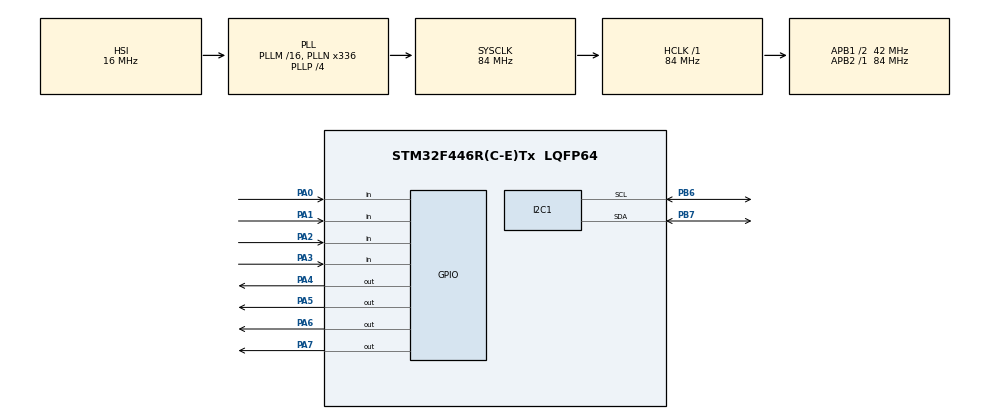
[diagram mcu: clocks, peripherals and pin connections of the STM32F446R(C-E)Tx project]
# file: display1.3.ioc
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Mcu.Family=STM32F4
Mcu.Name=STM32F446R(C-E)Tx
Mcu.Package=LQFP64
NVIC.PriorityGroup=NVIC_PRIORITYGROUP_0
PA0-WKUP.Signal=GPIO_Input
PA1.Signal=GPIO_Input
PA2.Signal=GPIO_Input
PA3.Signal=GPIO_Input
PA4.Signal=GPIO_Output
PA5.Signal=GPIO_Output
PA6.Signal=GPIO_Output
PA7.Signal=GPIO_Output
PB6.Mode=I2C
PB6.Signal=I2C1_SCL
PB7.Mode=I2C
PB7.Signal=I2C1_SDA
PH0-OSC_IN.Mode=HSE-External-Oscillator
PH0-OSC_IN.Signal=RCC_OSC_IN
PH1-OSC_OUT.Mode=HSE-External-Oscillator
PH1-OSC_OUT.Signal=RCC_OSC_OUT
ProjectManager.HeapSize=0x200
ProjectManager.StackSize=0x400
ProjectManager.TargetToolchain=STM32CubeIDE
RCC.48MHZClocksFreq_Value=84000000
RCC.AHBFreq_Value=84000000
RCC.APB1CLKDivider=RCC_HCLK_DIV2
RCC.APB1Freq_Value=42000000
RCC.APB1TimFreq_Value=84000000
RCC.APB2Freq_Value=84000000
RCC.APB2TimFreq_Value=84000000
RCC.CortexFreq_Value=84000000
RCC.FLatency-AdvancedSettings=FLASH_LATENCY_2
RCC.HCLKFreq_Value=84000000
RCC.HSE_VALUE=8000000
RCC.HSI_VALUE=16000000
RCC.PLLN=336
RCC.PLLP=RCC_PLLP_DIV4
RCC.SYSCLKFreq_VALUE=84000000
RCC.SYSCLKSource=RCC_SYSCLKSOURCE_PLLCLK
RCC.USBFreq_Value=168000000
RCC.VCOOutputFreq_Value=336000000
board=NUCLEO-F446RE

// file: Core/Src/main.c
/* USER CODE BEGIN Header */
/**
 ******************************************************************************
 * @file           : main.c
 * @brief          : Main program body
 ******************************************************************************
 * @attention
 *
 * Copyright (c) 2025 STMicroelectronics.
 * All rights reserved.
 *
 * This software is licensed under terms that can be found in the LICENSE file
 * in the root directory of this software component.
 * If no LICENSE file comes with this software, it is provided AS-IS.
 *
 ******************************************************************************
 */
/* USER CODE END Header */
#include "main.h"

/* USER CODE BEGIN Includes */
//#include "../ECUAL/KEYPAD/KEYPAD.h"
#include "../../ECUAL/KEYPAD/KEYPAD.h"
#include "../../ECUAL/I2C_LCD/I2C_LCD.h"
/* USER CODE END Includes */

/* USER CODE BEGIN PM */
#define KEY_1       0
#define KEY_2       1
#define KEY_3       2
#define KEY_F1      3
#define KEY_4       4
#define KEY_5       5
#define KEY_6       6
#define KEY_F2      7
#define KEY_7       8
#define KEY_8       9
#define KEY_9       10
#define KEY_F3      11
#define KEY_A       12
#define KEY_0       13
#define KEY_H       14
#define KEY_F4      15

#define MyI2C_LCD I2C_LCD_1
/* USER CODE END PM */

I2C_HandleTypeDef hi2c1;

void SystemClock_Config(void);
static void MX_GPIO_Init(void);
static void MX_I2C1_Init(void);
void SysTick_CallBack(void);
void Display_Handler(void);

/* USER CODE BEGIN 0 */
uint8_t gu8_KeyStatesArr[KEYS] = {0};
uint8_t SysTicks = 0;

/* USER CODE END 0 */

int main(void)
{

	/* MCU Configuration--------------------------------------------------------*/

	/* Reset of all peripherals, Initializes the Flash interface and the Systick. */
	HAL_Init();

	/* Configure the system clock */
	SystemClock_Config();

	/* Initialize all configured peripherals */
	MX_GPIO_Init();
	MX_I2C1_Init();
	/* USER CODE BEGIN 2 */
	KEYPAD_Init(0, gu8_KeyStatesArr);
	I2C_LCD_Init(MyI2C_LCD);
	I2C_LCD_SetCursor(MyI2C_LCD, 0, 0);
	//I2C_LCD_WriteString(MyI2C_LCD, "AUTO BASTI MACHINE");
	//I2C_LCD_SetCursor(MyI2C_LCD, 0, 1);
	//I2C_LCD_WriteString(MyI2C_LCD, "I2C LCD ");

	/* USER CODE END 2 */

	/* Infinite loop */
	while (1)
	{

		/* USER CODE BEGIN 3 */
		Display_Handler();
		HAL_Delay(10);
	}
	/* USER CODE END 3 */
}

void SystemClock_Config(void)
{
	RCC_OscInitTypeDef RCC_OscInitStruct = {0};
	RCC_ClkInitTypeDef RCC_ClkInitStruct = {0};

	/** Configure the main internal regulator output voltage
	 */
	__HAL_RCC_PWR_CLK_ENABLE();
	__HAL_PWR_VOLTAGESCALING_CONFIG(PWR_REGULATOR_VOLTAGE_SCALE3);

	/** Initializes the RCC Oscillators according to the specified parameters
	 * in the RCC_OscInitTypeDef structure.
	 */
	RCC_OscInitStruct.OscillatorType = RCC_OSCILLATORTYPE_HSI;
	RCC_OscInitStruct.HSIState = RCC_HSI_ON;
	RCC_OscInitStruct.HSICalibrationValue = RCC_HSICALIBRATION_DEFAULT;
	RCC_OscInitStruct.PLL.PLLState = RCC_PLL_ON;
	RCC_OscInitStruct.PLL.PLLSource = RCC_PLLSOURCE_HSI;
	RCC_OscInitStruct.PLL.PLLM = 16;
	RCC_OscInitStruct.PLL.PLLN = 336;
	RCC_OscInitStruct.PLL.PLLP = RCC_PLLP_DIV4;
	RCC_OscInitStruct.PLL.PLLQ = 2;
	RCC_OscInitStruct.PLL.PLLR = 2;
	if (HAL_RCC_OscConfig(&RCC_OscInitStruct) != HAL_OK)
	{
		Error_Handler();
	}

	/** Initializes the CPU, AHB and APB buses clocks
	 */
	RCC_ClkInitStruct.ClockType = RCC_CLOCKTYPE_HCLK|RCC_CLOCKTYPE_SYSCLK
			|RCC_CLOCKTYPE_PCLK1|RCC_CLOCKTYPE_PCLK2;
	RCC_ClkInitStruct.SYSCLKSource = RCC_SYSCLKSOURCE_PLLCLK;
	RCC_ClkInitStruct.AHBCLKDivider = RCC_SYSCLK_DIV1;
	RCC_ClkInitStruct.APB1CLKDivider = RCC_HCLK_DIV2;
	RCC_ClkInitStruct.APB2CLKDivider = RCC_HCLK_DIV1;

	if (HAL_RCC_ClockConfig(&RCC_ClkInitStruct, FLASH_LATENCY_2) != HAL_OK)
	{
		Error_Handler();
	}
}

static void MX_I2C1_Init(void)
{

	hi2c1.Instance = I2C1;
	hi2c1.Init.ClockSpeed = 100000;
	hi2c1.Init.DutyCycle = I2C_DUTYCYCLE_2;
	hi2c1.Init.OwnAddress1 = 0;
	hi2c1.Init.AddressingMode = I2C_ADDRESSINGMODE_7BIT;
	hi2c1.Init.DualAddressMode = I2C_DUALADDRESS_DISABLE;
	hi2c1.Init.OwnAddress2 = 0;
	hi2c1.Init.GeneralCallMode = I2C_GENERALCALL_DISABLE;
	hi2c1.Init.NoStretchMode = I2C_NOSTRETCH_DISABLE;
	if (HAL_I2C_Init(&hi2c1) != HAL_OK)
	{
		Error_Handler();
	}

}

static void MX_GPIO_Init(void)
{
	GPIO_InitTypeDef GPIO_InitStruct = {0};

	/* GPIO Ports Clock Enable */
	__HAL_RCC_GPIOH_CLK_ENABLE();
	__HAL_RCC_GPIOA_CLK_ENABLE();
	__HAL_RCC_GPIOB_CLK_ENABLE();

	/*Configure GPIO pin Output Level */
	HAL_GPIO_WritePin(GPIOA, GPIO_PIN_4|GPIO_PIN_5|GPIO_PIN_6|GPIO_PIN_7, GPIO_PIN_RESET);

	/*Configure GPIO pins : PA0 PA1 PA2 PA3 */
	GPIO_InitStruct.Pin = GPIO_PIN_0|GPIO_PIN_1|GPIO_PIN_2|GPIO_PIN_3;
	GPIO_InitStruct.Mode = GPIO_MODE_INPUT;
	GPIO_InitStruct.Pull = GPIO_NOPULL;
	HAL_GPIO_Init(GPIOA, &GPIO_InitStruct);

	/*Configure GPIO pins : PA4 PA5 PA6 PA7 */
	GPIO_InitStruct.Pin = GPIO_PIN_4|GPIO_PIN_5|GPIO_PIN_6|GPIO_PIN_7;
	GPIO_InitStruct.Mode = GPIO_MODE_OUTPUT_PP;
	GPIO_InitStruct.Pull = GPIO_NOPULL;
	GPIO_InitStruct.Speed = GPIO_SPEED_FREQ_LOW;
	HAL_GPIO_Init(GPIOA, &GPIO_InitStruct);

}

/* USER CODE BEGIN 4 */
void SysTick_CallBack(void)
{
	SysTicks++;
	if(SysTicks == 5) // Each 5msec
	{
		KEYPAD_Scan(0);
		SysTicks = 0;
	}
}
void Display_Handler(void)
{
	if(gu8_KeyStatesArr[KEY_1] == KEY_PRESSED)
	{
		I2C_LCD_WriteChar(MyI2C_LCD, '1');
		while(gu8_KeyStatesArr[KEY_1] == KEY_PRESSED);
	}
	if(gu8_KeyStatesArr[KEY_2] == KEY_PRESSED)
	{
		I2C_LCD_WriteChar(MyI2C_LCD, '2');
		while(gu8_KeyStatesArr[KEY_2] == KEY_PRESSED);
	}
	if(gu8_KeyStatesArr[KEY_3] == KEY_PRESSED)
	{
		//LCD_Write_Char('3');
		I2C_LCD_WriteChar(MyI2C_LCD, '3');
		while(gu8_KeyStatesArr[KEY_3] == KEY_PRESSED);
	}
	if(gu8_KeyStatesArr[KEY_4] == KEY_PRESSED)
	{
		//LCD_Write_Char('4');
		I2C_LCD_WriteChar(MyI2C_LCD, '4');
		while(gu8_KeyStatesArr[KEY_4] == KEY_PRESSED);
	}
	if(gu8_KeyStatesArr[KEY_5] == KEY_PRESSED)
	{
		//LCD_Write_Char('5');
		I2C_LCD_WriteChar(MyI2C_LCD, '5');
		while(gu8_KeyStatesArr[KEY_5] == KEY_PRESSED);
	}
	if(gu8_KeyStatesArr[KEY_6] == KEY_PRESSED)
	{
		//LCD_Write_Char('6');
		I2C_LCD_WriteChar(MyI2C_LCD, '6');
		while(gu8_KeyStatesArr[KEY_6] == KEY_PRESSED);
	}
	if(gu8_KeyStatesArr[KEY_7] == KEY_PRESSED)
	{
		//LCD_Write_Char('7');
		I2C_LCD_WriteChar(MyI2C_LCD, '7');
		while(gu8_KeyStatesArr[KEY_7] == KEY_PRESSED);
	}
	if(gu8_KeyStatesArr[KEY_8] == KEY_PRESSED)
	{
		//LCD_Write_Char('8');
		I2C_LCD_WriteChar(MyI2C_LCD, '8');
		while(gu8_KeyStatesArr[KEY_8] == KEY_PRESSED);
	}
	if(gu8_KeyStatesArr[KEY_9] == KEY_PRESSED)
	{
		//LCD_Write_Char('9');
		I2C_LCD_WriteChar(MyI2C_LCD, '9');
		while(gu8_KeyStatesArr[KEY_9] == KEY_PRESSED);
	}
	if(gu8_KeyStatesArr[KEY_0] == KEY_PRESSED)
	{
		//LCD_Write_Char('0');
		I2C_LCD_WriteChar(MyI2C_LCD, '0');
		while(gu8_KeyStatesArr[KEY_0] == KEY_PRESSED);
	}
	if(gu8_KeyStatesArr[KEY_A] == KEY_PRESSED)
	{
		//LCD_Write_Char('*');
		I2C_LCD_WriteChar(MyI2C_LCD, '*');
		while(gu8_KeyStatesArr[KEY_A] == KEY_PRESSED);
	}
	if(gu8_KeyStatesArr[KEY_H] == KEY_PRESSED)
	{
		//LCD_Write_Char('#');
		I2C_LCD_WriteChar(MyI2C_LCD, '#');
		while(gu8_KeyStatesArr[KEY_H] == KEY_PRESSED);
	}
//	if(gu8_KeyStatesArr[KEY_F1] == KEY_PRESSED)
//	{
//		LCD_SR();
//		while(gu8_KeyStatesArr[KEY_F1] == KEY_PRESSED);
//	}
//	if(gu8_KeyStatesArr[KEY_F2] == KEY_PRESSED)
//	{
//		LCD_SL();
//		while(gu8_KeyStatesArr[KEY_F2] == KEY_PRESSED);
//	}
//	if(gu8_KeyStatesArr[KEY_F4] == KEY_PRESSED)
//	{
//		LCD_Clear();
//		while(gu8_KeyStatesArr[KEY_F4] == KEY_PRESSED);
//	}
}

/* USER CODE END 4 */

void Error_Handler(void)
{
	__disable_irq();
	while (1)
	{
	}
}
